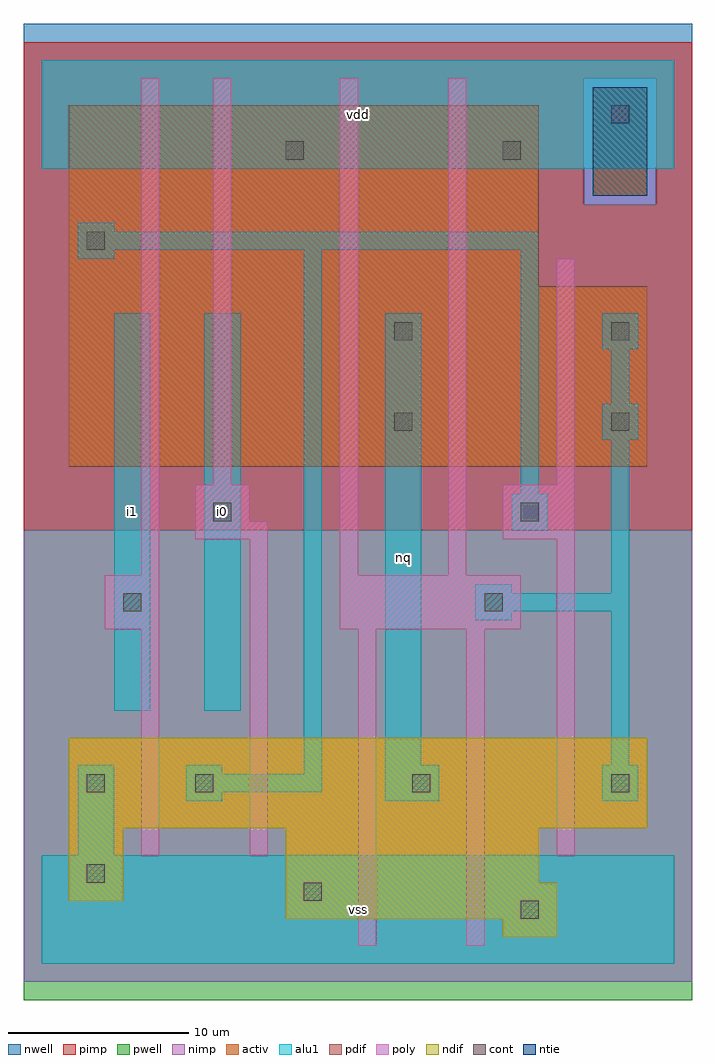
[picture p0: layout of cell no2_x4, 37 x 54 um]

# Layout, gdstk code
import gdstk
lib = gdstk.Library(unit=1e-6, precision=1e-09)
def R(c, l, rs):  # rectangles x0, y0, x1, y1
    for r in rs: c.add(gdstk.rectangle(r[:2], r[2:], *l))
ndif = (3, 0)
pdif = (4, 0)
ntie = (5, 0)
cont = (25, 0)
pwell = (41, 0)
nwell = (42, 0)
activ = (43, 0)
pimp = (44, 0)
nimp = (45, 0)
poly = (46, 0)
alu1 = (49, 0)

no2_x4 = lib.new_cell('no2_x4')
R(no2_x4, ndif, [(25.5,1.5,28.5,2.5), (13.5,2.5,28.5,4.5), (1.5,3.5,4.5,7.5), (13.5,4.5,27.5,7.5), (1.5,7.5,33.5,12.5)])
R(no2_x4, pdif, [(1.5,27.5,33.5,37.5), (1.5,37.5,27.5,47.5)])
R(no2_x4, ntie, [(30.5,42.5,33.5,48.5)])
R(no2_x4, cont, [(26.5,2.5,27.5,3.5), (14.5,3.5,15.5,4.5), (2.5,4.5,3.5,5.5), (2.5,9.5,3.5,10.5), (8.5,9.5,9.5,10.5), (20.5,9.5,21.5,10.5), (31.5,9.5,32.5,10.5), (4.5,19.5,5.5,20.5), (24.5,19.5,25.5,20.5), (9.5,24.5,10.5,25.5), (26.5,24.5,27.5,25.5), (19.5,29.5,20.5,30.5), (31.5,29.5,32.5,30.5), (19.5,34.5,20.5,35.5), (31.5,34.5,32.5,35.5), (2.5,39.5,3.5,40.5), (13.5,44.5,14.5,45.5), (25.5,44.5,26.5,45.5), (31.5,46.5,32.5,47.5)])
R(no2_x4, pwell, [(-1,-2,36,24)])
R(no2_x4, nwell, [(-1,24,36,52)])
R(no2_x4, activ, [(25.5,1.5,28.5,2.5), (13.5,2.5,28.5,4.5), (1.5,3.5,4.5,7.5), (13.5,4.5,27.5,7.5), (1.5,7.5,33.5,12.5), (1.5,27.5,33.5,37.5), (1.5,37.5,27.5,47.5), (30.5,42.5,33.5,48.5)])
R(no2_x4, pimp, [(-1,24,36,42), (-1,42,30,49), (34,42,36,49), (-1,49,36,51)])
R(no2_x4, nimp, [(-1,-1,36,24), (30,42,34,49)])
R(no2_x4, poly, [(17.5,1,18.5,18.5), (23.5,1,24.5,18.5), (5.5,6,6.5,18.5), (11.5,6,12.5,23.5), (28.5,6,29.5,23.5), (3.5,18.5,6.5,21.5), (16.5,18.5,26.5,21.5), (5.5,21.5,6.5,49), (16.5,21.5,17.5,49), (22.5,21.5,23.5,49), (8.5,23.5,12.5,24.5), (25.5,23.5,29.5,26.5), (8.5,24.5,11.5,26.5), (9.5,26.5,10.5,49), (28.5,26.5,29.5,39)])
R(no2_x4, alu1, [(0,0,35,6), (2,6,4,11), (8,9,10,9.5), (19,9,22,11), (31,9,33,11), (8,9.5,15.5,10.5), (8,10.5,10,11), (14.5,10.5,15.5,39.5), (19,11,21,36), (31.5,11,32.5,19.5), (4,14,6,36), (9,14,11,36), (24,19,26,19.5), (24,19.5,32.5,20.5), (24,20.5,26,21), (31.5,20.5,32.5,29), (26,24,28,26), (26.5,26,27.5,39.5), (31,29,33,31), (31.5,31,32.5,34), (31,34,33,36), (2,39,4,39.5), (2,39.5,27.5,40.5), (2,40.5,4,41), (0,44,35,50)])
no2_x4.add(gdstk.Label('i1', (5,25), layer=49, texttype=0))
no2_x4.add(gdstk.Label('i0', (10,25), layer=49, texttype=0))
no2_x4.add(gdstk.Label('vss', (17.5,3), layer=49, texttype=0))
no2_x4.add(gdstk.Label('nq', (20,22.5), layer=49, texttype=0))
no2_x4.add(gdstk.Label('vdd', (17.5,47), layer=49, texttype=0))

lib.write_gds('no2_x4.gds')
